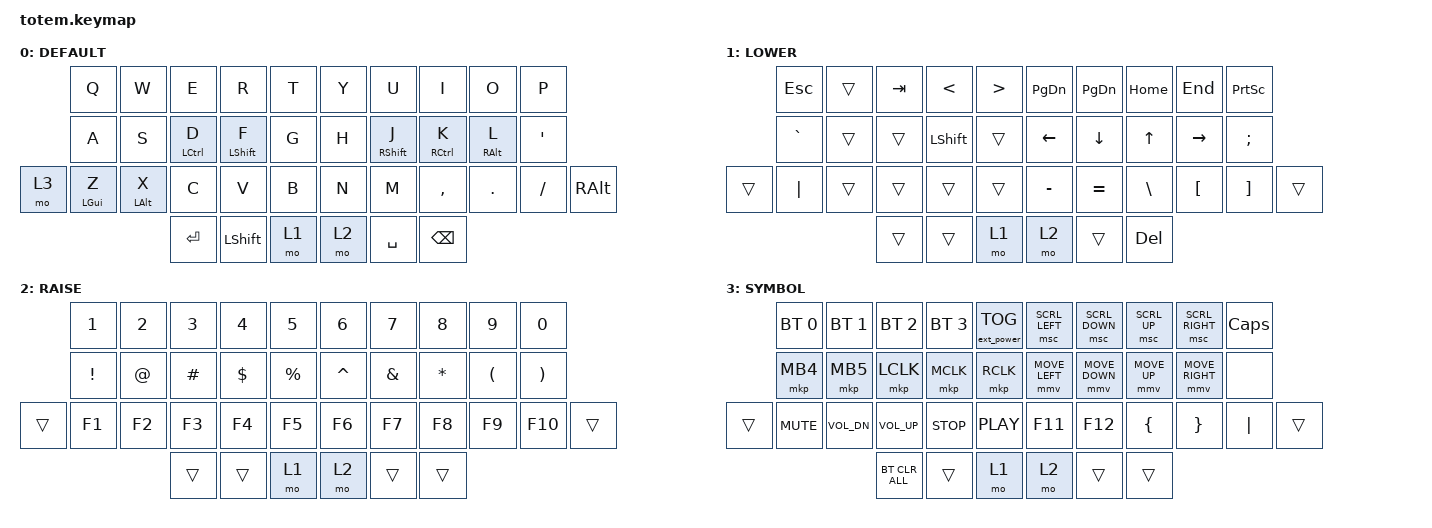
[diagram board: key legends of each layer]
//
//                                                        ▀▀▀▀▀     ▀▀▀▀▀          ▀▀█▀▀
//                                                        ▄▀▀▀▄  ▄  ▄▀▀▀▄  ▄  ▄▀▀▀▄  █  ▄▀▀▀▄
//                                                        █   █  █  █   █  █  █   █  █  █   █
//                                                         ▀▀▀   █   ▀▀▀   █   ▀▀▀   ▀   ▀▀▀
//                                                               █      ▄▄▄█▄▄▄    █   █  
//                                                               ▀      █  █  █     █▄█
//                                                             ▀▀▀▀▀    █  █  █      ▀
//                                                                      ▀  ▀  ▀
//
// ▄▄▄▄▄▄▄▄▄▄▄▄▄▄▄▄▄▄▄▄▄▄▄▄▄▄▄▄▄▄▄▄▄▄▄▄▄▄▄▄▄▄▄▄▄▄▄▄▄▄▄▄▄▄▄▄▄▄▄▄▄▄▄▄▄▄▄▄▄▄▄▄▄▄▄▄▄▄▄▄▄▄▄▄▄▄▄▄▄▄▄▄▄▄▄▄▄▄▄▄▄▄▄▄▄▄▄▄▄▄▄▄▄▄▄▄▄▄▄▄▄▄▄▄▄▄▄▄▄▄▄▄▄▄▄▄▄▄▄▄▄▄▄▄▄▄▄▄▄

#include <behaviors.dtsi>
#include <dt-bindings/zmk/bt.h>
#include <dt-bindings/zmk/ext_power.h>
#include <dt-bindings/zmk/keys.h>
#include <dt-bindings/zmk/pointing.h>

#define ZMK_POINTING_DEFAULT_MOVE_VAL 800  // default: 600
#define ZMK_POINTING_DEFAULT_SCRL_VAL 10    // default: 10
#define DEFAULT 0
#define LOWER   1
#define RAISE   2
#define SYMBOL  3

&mt {
    quick-tap-ms = <100>;
    global-quick-tap;
    flavor = "tap-preferred";
    tapping-term-ms = <170>;
};

/ {
    combos {
        compatible = "zmk,combos";

        combo_esc {
            timeout-ms = <50>;
            key-positions = <0 1>;
            bindings = <&kp ESC>;
        };

        combo_tvp {
            timeout-ms = <100>;
            key-positions = <11 12 13>;
            bindings = <&tog 0>;
        };
    };

    behaviors {
        hm: homerow_mods {
            compatible = "zmk,behavior-hold-tap";
            #binding-cells = <2>;
            tapping-term-ms = <250>;
            quick-tap-ms = <0>;
            flavor = "tap-preferred";
            bindings = <&kp>, <&kp>;
        };
    };

    conditional_layers {
        compatible = "zmk,conditional-layers";

        tri_layer {
            if-layers = <1 2>;
            then-layer = <3>;
        };
    };

    macros {
        gif: gif {
            label = "giphy";
            compatible = "zmk,behavior-macro";
            #binding-cells = <0>;
            bindings =
                <&macro_press>,
                <&kp LSHFT>,
                <&macro_tap>,
                <&kp N2>,
                <&macro_release>,
                <&kp LSHFT>,
                <&macro_tap>,
                <&kp G &kp I &kp F>;
        };
    };

    keymap {
        compatible = "zmk,keymap";

        // ▄▄▄▄▄▄▄▄▄▄▄▄▄▄▄▄▄▄▄▄▄▄▄▄▄▄▄▄▄▄▄▄▄▄▄▄▄▄▄▄▄▄▄▄▄▄▄▄▄▄▄▄▄▄▄▄▄▄▄▄▄▄▄▄▄▄▄▄▄▄▄▄▄▄▄▄▄▄▄▄▄▄▄▄▄▄▄▄▄▄▄▄▄▄▄▄▄▄▄▄▄▄▄▄▄▄▄▄▄▄▄▄▄▄▄▄▄▄▄▄▄▄▄▄▄▄▄▄▄▄▄▄▄▄▄▄▄▄▄▄▄▄▄▄▄▄▄▄▄

        base_layer {
            // ┏━━━━━━━━━━━━━━━━━━━━━━━━━━━━━━━━━━━━━━━┓

            label = "DEFAULT";

            // ┗━━━━━━━━━━━━━━━━━━━━━━━━━━━━━━━━━━━━━━━┛
            //             ┏━━━━━━━━━━━┳━━━━━━━━━━━┳━━━━━━━━━━━┳━━━━━━━━━━━┳━━━━━━━━━━━┓   ┏━━━━━━━━━━━┳━━━━━━━━━━━┳━━━━━━━━━━━┳━━━━━━━━━━━┳━━━━━━━━━━━┓
            //             ┃     Q     ┃     W     ┃     F     ┃     P     ┃     G     ┃   ┃     J     ┃     L     ┃     U     ┃     Y     ┃     ;     ┃
            //             ┣━━━━━━━━━━━╋━━━━━━━━━━━╋━━━━━━━━━━━╋━━━━━━━━━━━╋━━━━━━━━━━━┫   ┣━━━━━━━━━━━╋━━━━━━━━━━━╋━━━━━━━━━━━╋━━━━━━━━━━━╋━━━━━━━━━━━┫
            //             ┃     A     ┃     R     ┃     S     ┃     T     ┃     D     ┃   ┃     H     ┃     N     ┃     E     ┃     I     ┃     O     ┃
            // ┏━━━━━━━━━━━╋━━━━━━━━━━━╋━━━━━━━━━━━╋━━━━━━━━━━━╋━━━━━━━━━━━╋━━━━━━━━━━━┫   ┣━━━━━━━━━━━╋━━━━━━━━━━━╋━━━━━━━━━━━╋━━━━━━━━━━━╋━━━━━━━━━━━╋━━━━━━━━━━━┓
            // ┃     Q     ┃     Z     ┃     X     ┃     C     ┃     V     ┃     B     ┃   ┃     K     ┃     M     ┃     ,     ┃     .     ┃     /     ┃     \     ┃
            // ┗━━━━━━━━━━━┻━━━━━━━━━━━┻━━━━━━━━━━━╋━━━━━━━━━━━╋━━━━━━━━━━━╋━━━━━━━━━━━┫   ┣━━━━━━━━━━━╋━━━━━━━━━━━╋━━━━━━━━━━━╋━━━━━━━━━━━┻━━━━━━━━━━━┻━━━━━━━━━━━┛
            //                                     ┃    DEL    ┃    TAB    ┃    SPC    ┃   ┃   ENTER   ┃           ┃   BSPC    ┃
            //                                     ┗━━━━━━━━━━━┻━━━━━━━━━━━┻━━━━━━━━━━━┛   ┗━━━━━━━━━━━┻━━━━━━━━━━━┻━━━━━━━━━━━┛

            bindings = <
       &kp Q       &kp W       &kp E        &kp R           &kp T    &kp Y  &kp U        &kp I        &kp O       &kp P
       &kp A       &kp S       &hm LCTRL D  &hm LSHFT F     &kp G    &kp H  &mt RSHFT J  &mt RCTRL K  &mt RALT L  &kp SINGLE_QUOTE
&mo 3  &hm LGUI Z  &hm LALT X  &kp C        &kp V           &kp B    &kp N  &kp M        &kp COMMA    &kp DOT     &kp FSLH          &kp RIGHT_ALT
                               &kp ENTER    &kp LEFT_SHIFT  &mo 1    &mo 2  &kp SPACE    &kp BSPC
            >;
        };

        // ▄▄▄▄▄▄▄▄▄▄▄▄▄▄▄▄▄▄▄▄▄▄▄▄▄▄▄▄▄▄▄▄▄▄▄▄▄▄▄▄▄▄▄▄▄▄▄▄▄▄▄▄▄▄▄▄▄▄▄▄▄▄▄▄▄▄▄▄▄▄▄▄▄▄▄▄▄▄▄▄▄▄▄▄▄▄▄▄▄▄▄▄▄▄▄▄▄▄▄▄▄▄▄▄▄▄▄▄▄▄▄▄▄▄▄▄▄▄▄▄▄▄▄▄▄▄▄▄▄▄▄▄▄▄▄▄▄▄▄▄▄▄▄▄▄▄▄▄▄

        nav_layer {
            // ┏━━━━━━━━━━━━━━━━━━━━━━━━━━━━━━━━━━━━━━━┓

            label = "LOWER";

            // ┗━━━━━━━━━━━━━━━━━━━━━━━━━━━━━━━━━━━━━━━┛
            //             ┏━━━━━━━━━━━┳━━━━━━━━━━━┳━━━━━━━━━━━┳━━━━━━━━━━━┳━━━━━━━━━━━┓   ┏━━━━━━━━━━━┳━━━━━━━━━━━┳━━━━━━━━━━━┳━━━━━━━━━━━┳━━━━━━━━━━━┓
            //             ┃           ┃           ┃     UP    ┃           ┃     {     ┃   ┃     }     ┃     7     ┃     8     ┃     9     ┃     +     ┃
            //             ┣━━━━━━━━━━━╋━━━━━━━━━━━╋━━━━━━━━━━━╋━━━━━━━━━━━╋━━━━━━━━━━━┫   ┣━━━━━━━━━━━╋━━━━━━━━━━━╋━━━━━━━━━━━╋━━━━━━━━━━━╋━━━━━━━━━━━┫
            //             ┃   SHIFT   ┃   LEFT    ┃    DOWN   ┃   RIGHT   ┃     [     ┃   ┃     ]     ┃     4     ┃     5     ┃     6     ┃     -     ┃
            // ┏━━━━━━━━━━━╋━━━━━━━━━━━╋━━━━━━━━━━━╋━━━━━━━━━━━╋━━━━━━━━━━━╋━━━━━━━━━━━┫   ┣━━━━━━━━━━━╋━━━━━━━━━━━╋━━━━━━━━━━━╋━━━━━━━━━━━╋━━━━━━━━━━━╋━━━━━━━━━━━┓
            // ┃           ┃           ┃   P UP    ┃  C LOCK   ┃  P DOWN   ┃     (     ┃   ┃     )     ┃     1     ┃     2     ┃     3     ┃     *     ┃           ┃
            // ┗━━━━━━━━━━━┻━━━━━━━━━━━┻━━━━━━━━━━━╋━━━━━━━━━━━╋━━━━━━━━━━━╋━━━━━━━━━━━┫   ┣━━━━━━━━━━━╋━━━━━━━━━━━╋━━━━━━━━━━━╋━━━━━━━━━━━┻━━━━━━━━━━━┻━━━━━━━━━━━┛
            //                                     ┃           ┃    TAB    ┃    SPC    ┃   ┃    DEL    ┃     0     ┃           ┃
            //                                     ┗━━━━━━━━━━━┻━━━━━━━━━━━┻━━━━━━━━━━━┛   ┗━━━━━━━━━━━┻━━━━━━━━━━━┻━━━━━━━━━━━┛

            bindings = <
        &kp ESC    &trans  &kp TAB  &kp LESS_THAN   &kp GREATER_THAN    &kp PG_DN  &kp PAGE_DOWN  &kp HOME       &kp END           &kp PRINTSCREEN
        &kp GRAVE  &trans  &trans   &kp LEFT_SHIFT  &trans              &kp LEFT   &kp DOWN       &kp UP_ARROW   &kp RIGHT         &kp SEMI
&trans  &kp PIPE   &trans  &trans   &trans          &trans              &kp MINUS  &kp EQUAL      &kp BACKSLASH  &kp LEFT_BRACKET  &kp RIGHT_BRACKET  &trans
                           &trans   &trans          &mo 1               &mo 2      &trans         &kp DELETE
            >;
        };

        // ▄▄▄▄▄▄▄▄▄▄▄▄▄▄▄▄▄▄▄▄▄▄▄▄▄▄▄▄▄▄▄▄▄▄▄▄▄▄▄▄▄▄▄▄▄▄▄▄▄▄▄▄▄▄▄▄▄▄▄▄▄▄▄▄▄▄▄▄▄▄▄▄▄▄▄▄▄▄▄▄▄▄▄▄▄▄▄▄▄▄▄▄▄▄▄▄▄▄▄▄▄▄▄▄▄▄▄▄▄▄▄▄▄▄▄▄▄▄▄▄▄▄▄▄▄▄▄▄▄▄▄▄▄▄▄▄▄▄▄▄▄▄▄▄▄▄▄▄▄

        sim_layer {
            // ┏━━━━━━━━━━━━━━━━━━━━━━━━━━━━━━━━━━━━━━━┓

            label = "RAISE";

            // ┗━━━━━━━━━━━━━━━━━━━━━━━━━━━━━━━━━━━━━━━┛
            //             ┏━━━━━━━━━━━┳━━━━━━━━━━━┳━━━━━━━━━━━┳━━━━━━━━━━━┳━━━━━━━━━━━┓   ┏━━━━━━━━━━━┳━━━━━━━━━━━┳━━━━━━━━━━━┳━━━━━━━━━━━┳━━━━━━━━━━━┓
            //             ┃     !     ┃     @     ┃     #     ┃     $     ┃     %     ┃   ┃     ˆ     ┃     &     ┃     Ü     ┃     '     ┃     "     ┃
            //             ┣━━━━━━━━━━━╋━━━━━━━━━━━╋━━━━━━━━━━━╋━━━━━━━━━━━╋━━━━━━━━━━━┫   ┣━━━━━━━━━━━╋━━━━━━━━━━━╋━━━━━━━━━━━╋━━━━━━━━━━━╋━━━━━━━━━━━┫
            //             ┃     Ä     ┃           ┃    SZ     ┃           ┃           ┃   ┃   MUTE    ┃   YEN     ┃   EURO    ┃  POUND    ┃     Ö     ┃
            // ┏━━━━━━━━━━━╋━━━━━━━━━━━╋━━━━━━━━━━━╋━━━━━━━━━━━╋━━━━━━━━━━━╋━━━━━━━━━━━┫   ┣━━━━━━━━━━━╋━━━━━━━━━━━╋━━━━━━━━━━━╋━━━━━━━━━━━╋━━━━━━━━━━━╋━━━━━━━━━━━┓
            // ┃           ┃  EMAIL1   ┃  EMAIL2   ┃           ┃           ┃           ┃   ┃   VOL-    ┃   VOL+    ┃   LAST    ┃   NEXT    ┃     \     ┃           ┃
            // ┗━━━━━━━━━━━┻━━━━━━━━━━━┻━━━━━━━━━━━╋━━━━━━━━━━━╋━━━━━━━━━━━╋━━━━━━━━━━━┫   ┣━━━━━━━━━━━╋━━━━━━━━━━━╋━━━━━━━━━━━╋━━━━━━━━━━━┻━━━━━━━━━━━┻━━━━━━━━━━━┛
            //                                     ┃           ┃    GIF    ┃    ADJ    ┃   ┃           ┃           ┃           ┃
            //                                     ┗━━━━━━━━━━━┻━━━━━━━━━━━┻━━━━━━━━━━━┛   ┗━━━━━━━━━━━┻━━━━━━━━━━━┻━━━━━━━━━━━┛

            bindings = <
        &kp NUMBER_1     &kp NUMBER_2  &kp NUMBER_3  &kp NUMBER_4  &kp N5         &kp NUMBER_6  &kp N7         &kp N8        &kp NUMBER_9          &kp N0
        &kp EXCLAMATION  &kp AT_SIGN   &kp HASH      &kp DOLLAR    &kp PERCENT    &kp CARET     &kp AMPERSAND  &kp ASTERISK  &kp LEFT_PARENTHESIS  &kp RIGHT_PARENTHESIS
&trans  &kp F1           &kp F2        &kp F3        &kp F4        &kp F5         &kp F6        &kp F7         &kp F8        &kp F9                &kp F10                &trans
                                       &trans        &trans        &mo 1          &mo 2         &trans         &trans
            >;
        };

        // ▄▄▄▄▄▄▄▄▄▄▄▄▄▄▄▄▄▄▄▄▄▄▄▄▄▄▄▄▄▄▄▄▄▄▄▄▄▄▄▄▄▄▄▄▄▄▄▄▄▄▄▄▄▄▄▄▄▄▄▄▄▄▄▄▄▄▄▄▄▄▄▄▄▄▄▄▄▄▄▄▄▄▄▄▄▄▄▄▄▄▄▄▄▄▄▄▄▄▄▄▄▄▄▄▄▄▄▄▄▄▄▄▄▄▄▄▄▄▄▄▄▄▄▄▄▄▄▄▄▄▄▄▄▄▄▄▄▄▄▄▄▄▄▄▄▄▄▄▄

        adjust_layer {
            // ┏━━━━━━━━━━━━━━━━━━━━━━━━━━━━━━━━━━━━━━━┓

            label = "SYMBOL";

            // ┗━━━━━━━━━━━━━━━━━━━━━━━━━━━━━━━━━━━━━━━┛
            //             ┏━━━━━━━━━━━┳━━━━━━━━━━━┳━━━━━━━━━━━┳━━━━━━━━━━━┳━━━━━━━━━━━┓   ┏━━━━━━━━━━━┳━━━━━━━━━━━┳━━━━━━━━━━━┳━━━━━━━━━━━┳━━━━━━━━━━━┓
            //             ┃   RESET   ┃ BT CLEAR  ┃  OUT TOG  ┃           ┃           ┃   ┃           ┃    F7     ┃    F8     ┃    F9     ┃    F12    ┃
            //             ┣━━━━━━━━━━━╋━━━━━━━━━━━╋━━━━━━━━━━━╋━━━━━━━━━━━╋━━━━━━━━━━━┫   ┣━━━━━━━━━━━╋━━━━━━━━━━━╋━━━━━━━━━━━╋━━━━━━━━━━━╋━━━━━━━━━━━┫
            //             ┃ BOOTLOAD  ┃ BT NEXT   ┃           ┃           ┃           ┃   ┃           ┃    F4     ┃    F5     ┃    F6     ┃    F11    ┃
            // ┏━━━━━━━━━━━╋━━━━━━━━━━━╋━━━━━━━━━━━╋━━━━━━━━━━━╋━━━━━━━━━━━╋━━━━━━━━━━━┫   ┣━━━━━━━━━━━╋━━━━━━━━━━━╋━━━━━━━━━━━╋━━━━━━━━━━━╋━━━━━━━━━━━╋━━━━━━━━━━━┓
            // ┃           ┃           ┃ BT PREV   ┃           ┃           ┃           ┃   ┃           ┃    F1     ┃    F2     ┃    F3     ┃    F10    ┃           ┃
            // ┗━━━━━━━━━━━┻━━━━━━━━━━━┻━━━━━━━━━━━╋━━━━━━━━━━━╋━━━━━━━━━━━╋━━━━━━━━━━━┫   ┣━━━━━━━━━━━╋━━━━━━━━━━━╋━━━━━━━━━━━╋━━━━━━━━━━━┻━━━━━━━━━━━┻━━━━━━━━━━━┛
            //                                     ┃           ┃           ┃           ┃   ┃           ┃           ┃           ┃
            //                                     ┗━━━━━━━━━━━┻━━━━━━━━━━━┻━━━━━━━━━━━┛   ┗━━━━━━━━━━━┻━━━━━━━━━━━┻━━━━━━━━━━━┛

            bindings = <
        &bt BT_SEL 0  &bt BT_SEL 1  &bt BT_SEL 2    &bt BT_SEL 3  &ext_power EP_TOG    &msc SCRL_LEFT  &msc SCRL_DOWN  &msc SCRL_UP    &msc SCRL_RIGHT  &kp CAPS
        &mkp MB4      &mkp MB5      &mkp LCLK       &mkp MCLK     &mkp RCLK            &mmv MOVE_LEFT  &mmv MOVE_DOWN  &mmv MOVE_UP    &mmv MOVE_RIGHT  &none
&trans  &kp C_MUTE    &kp C_VOL_DN  &kp C_VOL_UP    &kp C_STOP    &kp C_PLAY           &kp F11         &kp F12         &kp LEFT_BRACE  &kp RIGHT_BRACE  &kp PIPE  &trans
                                    &bt BT_CLR_ALL  &trans        &mo 1                &mo 2           &trans          &trans
            >;
        };

        // ▄▄▄▄▄▄▄▄▄▄▄▄▄▄▄▄▄▄▄▄▄▄▄▄▄▄▄▄▄▄▄▄▄▄▄▄▄▄▄▄▄▄▄▄▄▄▄▄▄▄▄▄▄▄▄▄▄▄▄▄▄▄▄▄▄▄▄▄▄▄▄▄▄▄▄▄▄▄▄▄▄▄▄▄▄▄▄▄▄▄▄▄▄▄▄▄▄▄▄▄▄▄▄▄▄▄▄▄▄▄▄▄▄▄▄▄▄▄▄▄▄▄▄▄▄▄▄▄▄▄▄▄▄▄▄▄▄▄▄▄▄▄▄▄▄▄▄▄▄
        // ▄▄▄▄▄▄▄▄▄▄▄▄▄▄▄▄▄▄▄▄▄▄▄▄▄▄▄▄▄▄▄▄▄▄▄▄▄▄▄▄▄▄▄▄▄▄▄▄▄▄▄▄▄▄▄▄▄▄▄▄▄▄▄▄▄▄▄▄▄▄▄▄▄▄▄▄▄▄▄▄▄▄▄▄▄▄▄▄▄▄▄▄▄▄▄▄▄▄▄▄▄▄▄▄▄▄▄▄▄▄▄▄▄▄▄▄▄▄▄▄▄▄▄▄▄▄▄▄▄▄▄▄▄▄▄▄▄▄▄▄▄▄▄▄▄▄▄▄▄
    };
};
